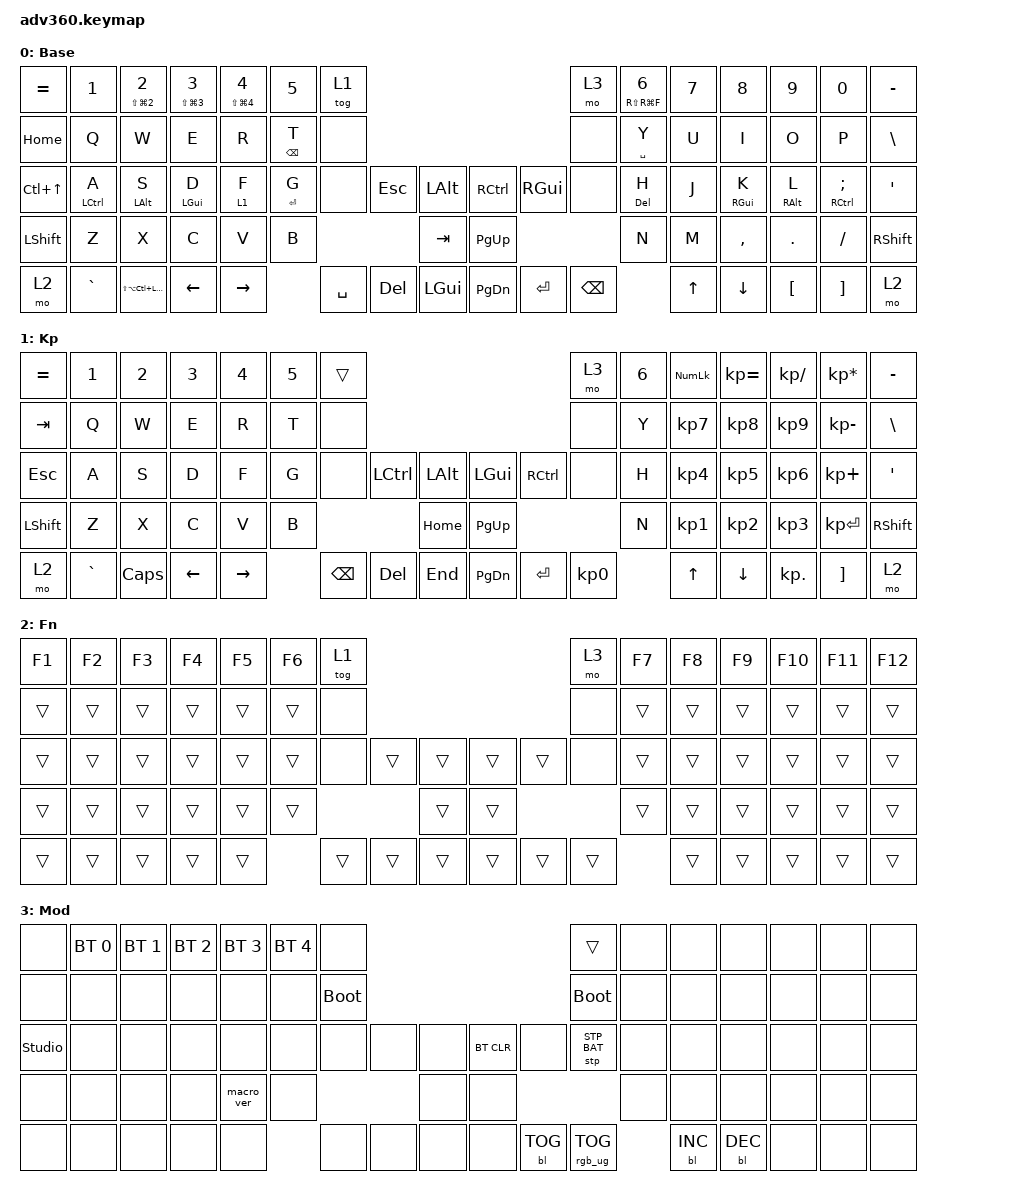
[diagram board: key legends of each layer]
#include <dt-bindings/zmk/stp.h>
#include <behaviors.dtsi>
#include <dt-bindings/zmk/backlight.h>
#include <dt-bindings/zmk/bt.h>
#include <dt-bindings/zmk/keys.h>
#include <dt-bindings/zmk/rgb.h>

/ {
    behaviors {
        #include "macros.dtsi"
      #include "version.dtsi"

        hmold: homerow_mods {
            compatible = "zmk,behavior-hold-tap";
            label = "HOMEROW_MODS";
            #binding-cells = <2>;
            tapping-term-ms = <200>;
            quick_tap_ms = <175>;
            flavor = "tap-preferred";
            bindings = <&kp>, <&kp>;
        };

        hm: hm {
            compatible = "zmk,behavior-hold-tap";
            label = "HM";
            bindings = <&kp>, <&kp>;

            #binding-cells = <2>;
            tapping-term-ms = <400>;
            quick-tap-ms = <400>;
            require-prior-idle-ms = <400>;
            flavor = "tap-preferred";
        };
    };

    keymap {
        compatible = "zmk,keymap";

        default_layer {
            display-name = "Base";
            bindings = <
&kp EQUAL         &kp N1       &hm LS(LG(NUMBER_2)) NUMBER_2  &hm LS(LG(NUMBER_3)) NUMBER_3  &hm LS(LG(N4)) NUMBER_4  &kp N5           &tog 1                                                         &mo 3          &hm RS(RG(F)) NUMBER_6  &kp N7  &kp N8           &kp N9           &kp N0          &kp MINUS
&kp HOME          &kp Q        &kp W                          &kp E                          &kp R                    &hm BACKSPACE T  &none                                                          &none          &hm SPACE Y             &kp U   &kp I            &kp O            &kp P           &kp BSLH
&kp LC(UP_ARROW)  &hm LCTRL A  &hm LEFT_ALT S                 &hm LEFT_GUI D                 &lt 1 F                  &hm ENTER G      &none      &kp ESC     &kp LALT      &kp RCTRL  &kp RIGHT_GUI  &none          &hm DELETE H            &kp J   &hm RIGHT_GUI K  &hm RIGHT_ALT L  &hm RCTRL SEMI  &kp SQT
&kp LSHFT         &kp Z        &kp X                          &kp C                          &kp V                    &kp B                                   &kp TAB       &kp PG_UP                                &kp N                   &kp M   &kp COMMA        &kp DOT          &kp FSLH        &kp RSHFT
&mo 2             &kp GRAVE    &kp LS(LA(LC(LEFT_COMMAND)))   &kp LEFT                       &kp RIGHT                                 &kp SPACE  &kp DELETE  &kp LGUI      &kp PG_DN  &kp ENTER      &kp BACKSPACE                          &kp UP  &kp DOWN         &kp LBKT         &kp RBKT        &mo 2
            >;
        };

        keypad {
            display-name = "Kp";
            bindings = <
&kp EQUAL  &kp N1     &kp N2    &kp N3    &kp N4     &kp N5  &trans                                                   &mo 3      &kp N6  &kp KP_NUM  &kp KP_EQUAL  &kp KP_DIVIDE  &kp KP_MULTIPLY  &kp MINUS
&kp TAB    &kp Q      &kp W     &kp E     &kp R      &kp T   &none                                                    &none      &kp Y   &kp KP_N7   &kp KP_N8     &kp KP_N9      &kp KP_MINUS     &kp BSLH
&kp ESC    &kp A      &kp S     &kp D     &kp F      &kp G   &none     &kp LCTRL  &kp LALT      &kp LGUI   &kp RCTRL  &none      &kp H   &kp KP_N4   &kp KP_N5     &kp KP_N6      &kp KP_PLUS      &kp SQT
&kp LSHFT  &kp Z      &kp X     &kp C     &kp V      &kp B                        &kp HOME      &kp PG_UP                        &kp N   &kp KP_N1   &kp KP_N2     &kp KP_N3      &kp KP_ENTER     &kp RSHFT
&mo 2      &kp GRAVE  &kp CAPS  &kp LEFT  &kp RIGHT          &kp BSPC  &kp DEL    &kp END       &kp PG_DN  &kp ENTER  &kp KP_N0          &kp UP      &kp DOWN      &kp KP_DOT     &kp RBKT         &mo 2
            >;
        };

        fn {
            display-name = "Fn";
            bindings = <
&kp F1  &kp F2  &kp F3  &kp F4  &kp F5  &kp F6  &tog 1                                      &mo 3   &kp F7  &kp F8  &kp F9  &kp F10  &kp F11  &kp F12
&trans  &trans  &trans  &trans  &trans  &trans  &none                                       &none   &trans  &trans  &trans  &trans   &trans   &trans
&trans  &trans  &trans  &trans  &trans  &trans  &none   &trans  &trans      &trans  &trans  &none   &trans  &trans  &trans  &trans   &trans   &trans
&trans  &trans  &trans  &trans  &trans  &trans                  &trans      &trans                  &trans  &trans  &trans  &trans   &trans   &trans
&trans  &trans  &trans  &trans  &trans          &trans  &trans  &trans      &trans  &trans  &trans          &trans  &trans  &trans   &trans   &trans
            >;
        };

        mod {
            display-name = "Mod";
            bindings = <
&none           &bt BT_SEL 0  &bt BT_SEL 1  &bt BT_SEL 2  &bt BT_SEL 3  &bt BT_SEL 4  &none                                                  &trans           &none  &none       &none       &none  &none  &none
&none           &none         &none         &none         &none         &none         &bootloader                                            &bootloader      &none  &none       &none       &none  &none  &none
&studio_unlock  &none         &none         &none         &none         &none         &none        &none  &none      &bt BT_CLR  &none       &stp STP_BAT     &none  &none       &none       &none  &none  &none
&none           &none         &none         &none         &macro_ver    &none                             &none      &none                                    &none  &none       &none       &none  &none  &none
&none           &none         &none         &none         &none                       &none        &none  &none      &none       &bl BL_TOG  &rgb_ug RGB_TOG         &bl BL_INC  &bl BL_DEC  &none  &none  &none
            >;
        };

        extra1 {
            display-name = "Red";
            status = "reserved";
        };

        extra2 {
            display-name = "Purple";
            status = "reserved";
        };
    };
};
